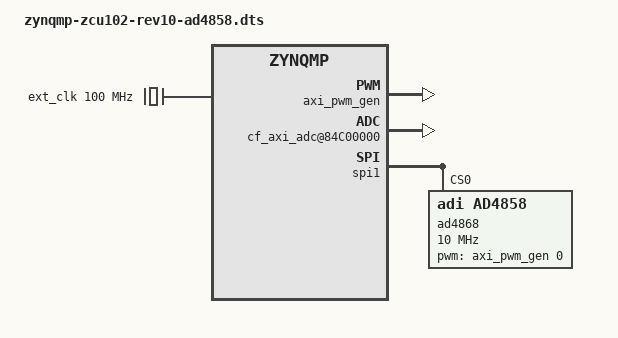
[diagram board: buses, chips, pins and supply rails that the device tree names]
// SPDX-License-Identifier: GPL-2.0
/dts-v1/;

#include "zynqmp-zcu102-rev1.0.dts"
#include <dt-bindings/clock/xlnx-zynqmp-clk.h>
#include <dt-bindings/interrupt-controller/irq.h>
#include <dt-bindings/pwm/pwm.h>

/ {

	clocks {
		ext_clk: clock@0 {
			#clock-cells = <0>;
			compatible = "fixed-clock";
			clock-frequency = <100000000>;
		};
	};

	fpga_axi: fpga-axi@0 {
		interrupt-parent = <&gic>;
		compatible = "simple-bus";
		#address-cells = <0x1>;
		#size-cells = <0x1>;
		ranges = <0 0 0 0xffffffff>;

                rx_dma: dmac@84C30000 {
                        compatible = "adi,axi-dmac-1.00.a";
                        reg = <0x84C30000 0x1000>;
                        #dma-cells = <1>;
                        interrupts = <0 95 IRQ_TYPE_LEVEL_HIGH>;
                        clocks = <&zynqmp_clk PL0_REF>;

                        adi,channels {
                                #size-cells = <0>;
                                #address-cells = <1>;

                                dma-channel@0 {
                                        reg = <0>;
                                        adi,source-bus-width = <256>;
                                        adi,source-bus-type = <2>;
                                        adi,destination-bus-width = <64>;
                                        adi,destination-bus-type = <0>;
                                };
                        };
                };

                axi_pwm_gen: pwm@84C50000 {
                        compatible = "adi,axi-pwmgen";
                        reg = <0x84C50000 0x1000>;
                        label = "cnv";
                        #pwm-cells = <2>;
                        // clocks = <&ext_clk>;
                        clocks = <&zynqmp_clk PL0_REF>;
                };

                cf_axi_adc@84C00000 {
                        compatible = "adi,axi-adc-10.0.a";
                        reg = <0x84C00000 0x10000>;
                        dmas = <&rx_dma 0>;
                        dma-names = "rx";
                        spibus-connected = <&ad4868>;
                };
        };
};

&spi1 {
	status = "okay";

	ad4868: adc@0{
		compatible = "adi,ad4858";
		reg = <0>;
		spi-max-frequency = <10000000>;
		// clocks = <&ext_clk>;
                clocks = <&zynqmp_clk PL0_REF>;
		clock-names = "scki";
		dmas = <&rx_dma 0>;
		dma-names = "rx";
		pwms = <&axi_pwm_gen 0 0>;
		pwm-names = "cnv";
	};
};
